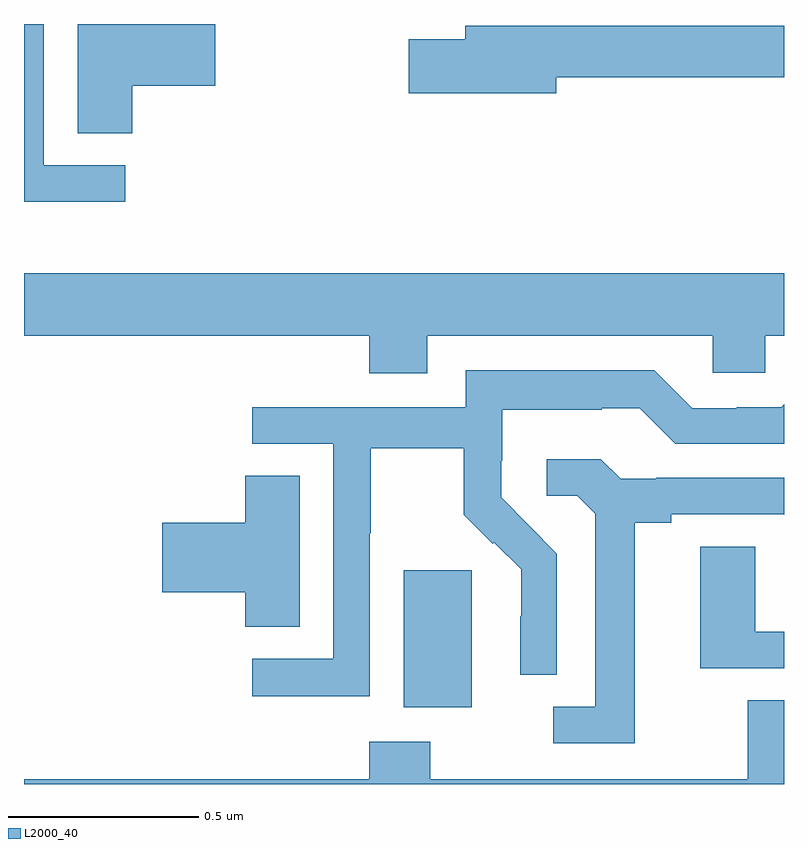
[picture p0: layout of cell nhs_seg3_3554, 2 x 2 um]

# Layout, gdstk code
import gdstk
lib = gdstk.Library(unit=1e-6, precision=1e-09)
def R(c, l, rs):  # rectangles x0, y0, x1, y1
    for r in rs: c.add(gdstk.rectangle(r[:2], r[2:], *l))
def P(c, l, *ps):  # polygons
    for p in ps: c.add(gdstk.Polygon(p, *l))
L2000_40 = (2000, 40)

nhs_seg3_3554 = lib.new_cell('nhs_seg3_3554')
R(nhs_seg3_3554, L2000_40, [(155.999,702.602,156.178,702.963)])
P(nhs_seg3_3554, L2000_40, [(155.285,704.237),(155.503,704.237),(155.503,704.4),(155.141,704.4),(155.141,704.113),(155.285,704.113)],
  [(155.266,704.028),(155.052,704.028),(155.052,704.4),(155,704.4),(155,703.932),(155.266,703.932)],
  [(156.4,704.26),(157,704.26),(157,704.396),(156.161,704.396),(156.161,704.36),(156.012,704.36),(156.012,704.218),(156.4,704.218)],
  [(156.061,703.58),(156.813,703.58),(156.813,703.482),(156.951,703.482),(156.951,703.58),(157,703.58),(157,703.744),(155,703.744),(155,703.58),(155.909,703.58),(155.909,703.481),(156.061,703.481)],
  [(155.91,703.06),(155.913,703.06),(155.913,703.284),(156.157,703.284),(156.157,703.109),(156.234,703.032),(156.237,703.035),(156.308,702.965),(156.308,702.842),(156.306,702.842),(156.306,702.688),(156.402,702.688),(156.402,703.006),(156.329,703.079),(156.33,703.08),(156.256,703.154),(156.256,703.251),(156.258,703.251),(156.258,703.385),(156.521,703.385),(156.521,703.389),(156.621,703.389),(156.714,703.296),(157,703.296),(157,703.399),(156.993,703.392),(156.875,703.392),(156.875,703.389),(156.759,703.389),(156.659,703.489),(156.162,703.489),(156.162,703.392),(155.601,703.392),(155.601,703.296),(155.814,703.296),(155.814,702.729),(155.601,702.729),(155.601,702.631),(155.91,702.631)],
  [(156.607,703.088),(156.703,703.088),(156.703,703.11),(156.998,703.11),(157,703.108),(157,703.206),(156.664,703.206),(156.664,703.203),(156.57,703.203),(156.518,703.255),(156.375,703.255),(156.375,703.158),(156.456,703.158),(156.503,703.111),(156.503,702.603),(156.393,702.603),(156.393,702.507),(156.607,702.507)],
  [(155.725,703.211),(155.582,703.211),(155.582,703.088),(155.364,703.088),(155.364,702.905),(155.582,702.905),(155.582,702.814),(155.725,702.814)],
  [(157,702.801),(156.924,702.801),(156.924,703.025),(156.779,703.025),(156.779,702.705),(157,702.705)],
  [(157,702.62),(156.905,702.62),(156.905,702.412),(156.069,702.412),(156.069,702.511),(155.909,702.511),(155.909,702.412),(155,702.412),(155,702.4),(157,702.4)])

lib.write_gds('nhs_seg3_3554.gds')
